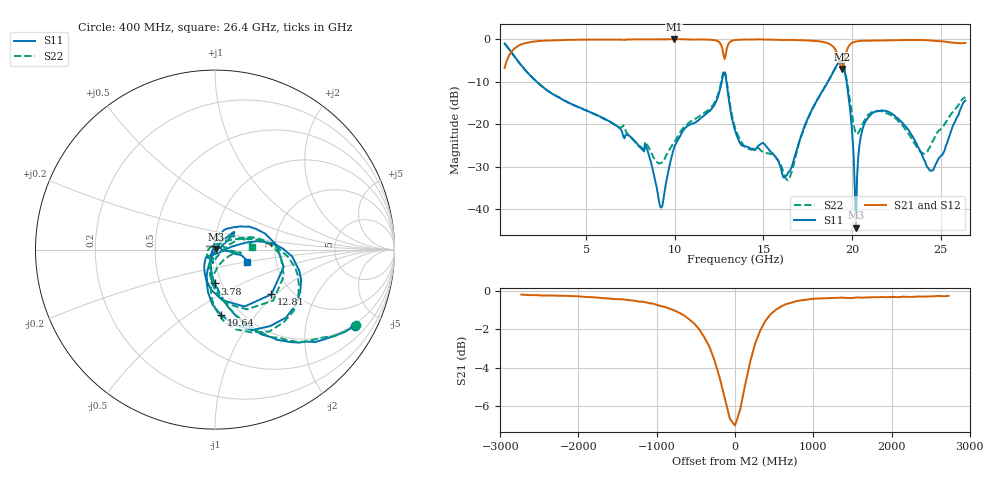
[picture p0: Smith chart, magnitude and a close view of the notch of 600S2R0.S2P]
!  American Technical Ceramics  Date:  10/26/00
!  One Norden Lane
!  Huntington Station,  NY.  11746-2102
!  Tel:  (631) 622-4700  Fax:  (631) 622-4748
!  Part Number  600S2R0BW  Mounting Orientation: Horizontal
!  Description: Ultra Low ESR Microwave capacitors
!  Application: Coupling, Bypass, Tuning, DC Block
!  Filters, Matching
# GHZ S DB R 50
! Freq  |S11|  S11 Ph  |S21|  S21 Ph  |S12|  S12 Ph  |S22|  S22 Ph
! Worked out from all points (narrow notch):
!   401 points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, 400 MHz to 26.4 GHz, reference 50 ohm
!   highest |S21| = 0.01 dB at 9.955 GHz (marker M1); lowest = -7.0 dB at 19.45 GHz (marker M2)
!   notch at M2: 6.8 dB deep, 463 MHz wide at half that depth
!   lowest |S11| = -44.4 dB at 20.23 GHz (marker M3), VSWR 1.01, Z = 50.5 + j0.328 ohm
!   |S11| at or under -10 dB: 2.205 GHz to 12.65 GHz (10.45 GHz wide, 141 % of centre); 12.91 GHz to 18.64 GHz (5.73 GHz wide, 36.3 % of centre); 19.69 GHz to end of sweep
!   |S22| runs from -33.2 to -1.0 dB; largest |S21 - S12| = 0.01
!   S11 on the Smith chart (normalised r, x): 400 MHz: 0.93, -3.71; 3.78 GHz: 0.93, -0.36; 12.81 GHz: 1.58, -0.94; 19.64 GHz: 0.81, -0.68; 26.4 GHz: 1.41, -0.20
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0.4  -1.04 -28.6  -6.79 61.2  -6.80 61.1  -1.02 -28.1
1.57  -7.32 -69.2  -0.95 20.6  -0.96 20.5  -7.33 -68.0
3.78  -14.50 -90.5  -0.20 -2.5  -0.21 -2.6  -14.46 -92.1
4.755  -16.29 -95.1  -0.14 -8.3  -0.15 -8.4  -16.37 -98.5
8.46  -26.15 -123.7  -0.06 -26.5  -0.06 -26.6  -24.99 -90.3
9.11  -38.13 179.9  -0.08 -29.2  -0.08 -29.3  -29.27 -45.6
9.305  -39.19 123.1  -0.08 -29.9  -0.08 -30.1  -28.99 -25.3
9.955  -25.65 89.1  0.01 -33.3  0.01 -33.4  -24.37 10.9
12.425  -13.76 38.5  -0.49 -51.9  -0.49 -51.9  -13.21 18.5
12.815  -7.93 -38.4  -4.67 -43.9  -4.57 -44.3  -7.31 -41.2
13.4  -21.47 -131.4  -0.22 -41.4  -0.24 -41.4  -20.79 -107.0
16.39  -31.43 -53.7  -0.18 -60.2  -0.19 -60.3  -33.23 112.1
17.755  -16.47 12.5  -0.39 -68.4  -0.38 -68.5  -16.55 23.8
18.86  -8.39 0.7  -1.49 -81.4  -1.49 -81.7  -8.40 -2.6
19.445  -5.59 -54.2  -7.01 -63.5  -6.90 -63.7  -5.23 -56.4
19.64  -8.73 -84.8  -3.68 -45.1  -3.66 -45.6  -8.02 -83.4
20.225  -44.36 32.4  -0.55 -60.9  -0.56 -61.2  -22.20 -58.8
20.745  -19.49 45.3  -0.37 -68.2  -0.40 -68.4  -18.85 -10.5
22.11  -17.22 39.6  -0.29 -78.1  -0.29 -78.2  -17.69 -6.0
23.93  -27.02 26.9  -0.22 -89.9  -0.20 -89.9  -26.66 26.3
24.515  -30.89 15.5  -0.36 -94.2  -0.36 -94.3  -24.26 56.6
26.4  -14.45 -21.4  -0.89 -104.5  -0.89 -104.6  -13.68 3.9
